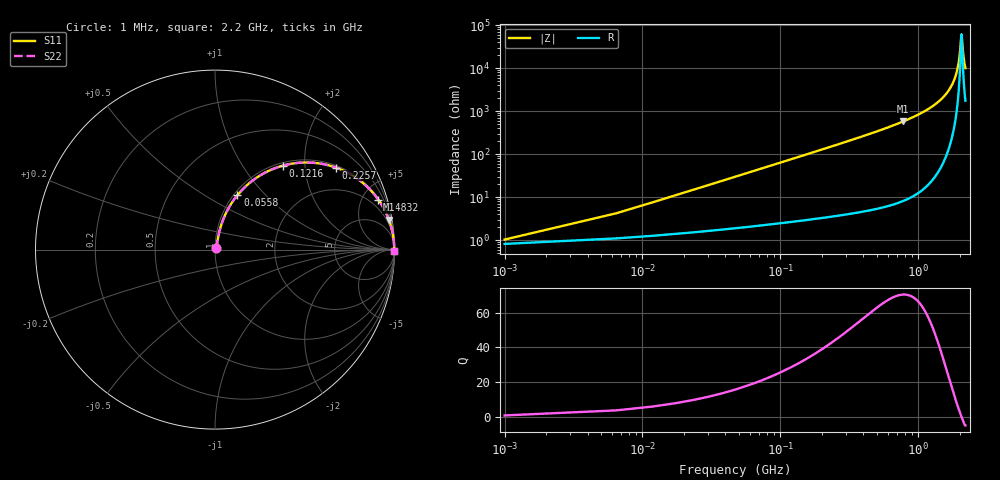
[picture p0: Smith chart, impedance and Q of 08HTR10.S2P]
! Coilcraft 0805HT-R10 Chip Inductor
! 24 June 2002
# MHZ S MA R 50
!Freq  MagS11  AngS11  MagS21  AngS21  MagS12  AngS12  MagS22  AngS22
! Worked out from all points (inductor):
!   403 points, 1 MHz to 2.2 GHz, reference 50 ohm
!   read as one part in series: L = 101 nH near 11.96 MHz
!   highest Q = 70.5 at 779.2 MHz (marker M1), where L = 118 nH
!   self-resonance near 2.061 GHz
!   S11 on the Smith chart (normalised r, x): 1 MHz: 1.02, +0.01; 55.8 MHz: 1.04, +0.71; 121.6 MHz: 1.05, +1.55; 225.7 MHz: 1.07, +2.90; 483.2 MHz: 1.10, +6.49; 2.2 GHz: open
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1  0.01032 37.2  0.9918 -0.4  0.9918 -0.4  0.01032 37.2
17.44  0.1094 76.5  0.9803 -6.2  0.9803 -6.2  0.1094 76.5
22.92  0.1426 75.9  0.9751 -8.2  0.9751 -8.2  0.1426 75.9
39.36  0.239 72.1  0.954 -13.8  0.954 -13.8  0.239 72.1
55.8  0.3287 67.6  0.926 -19.2  0.926 -19.2  0.3287 67.6
121.56  0.6023 51.0  0.7776 -37.0  0.7776 -37.0  0.6023 51.0
225.68  0.8141 34.1  0.5615 -54.5  0.5615 -54.5  0.8141 34.1
368.16  0.9179 22.3  0.3803 -66.6  0.3803 -66.6  0.9179 22.3
483.24  0.9513 17.0  0.2931 -72.0  0.2931 -72.0  0.9513 17.0
735.32  0.9804 10.6  0.1834 -78.6  0.1834 -78.6  0.9804 10.6
779.16  0.983 9.8  0.1704 -79.4  0.1704 -79.4  0.983 9.8
1102.48  0.9932 5.8  0.1014 -83.3  0.1014 -83.3  0.9932 5.8
1469.64  0.9972 3.0  0.05261 -85.4  0.05261 -85.4  0.9972 3.0
1683.36  0.9981 1.8  0.03118 -85.6  0.03118 -85.6  0.9981 1.8
1836.8  0.9983 1.0  0.01774 -84.1  0.01774 -84.1  0.9983 1.0
1968.32  0.9984 0.4  0.007266 -77.0  0.007266 -77.0  0.9984 0.4
2001.2  0.9984 0.3  0.004837 -70.3  0.004837 -70.3  0.9984 0.3
2050.52  0.9984 0.0  0.00185 -27.2  0.00185 -27.2  0.9984 0.0
2061.48  0.9983 0.0  0.001653 -1.2  0.001653 -1.2  0.9983 0.0
2072.44  0.9983 -0.0  0.001834 25.0  0.001834 25.0  0.9983 -0.0
2132.72  0.9983 -0.3  0.005426 71.3  0.005426 71.3  0.9983 -0.3
2200  0.9982 -0.6  0.01005 79.3  0.01005 79.3  0.9982 -0.6
